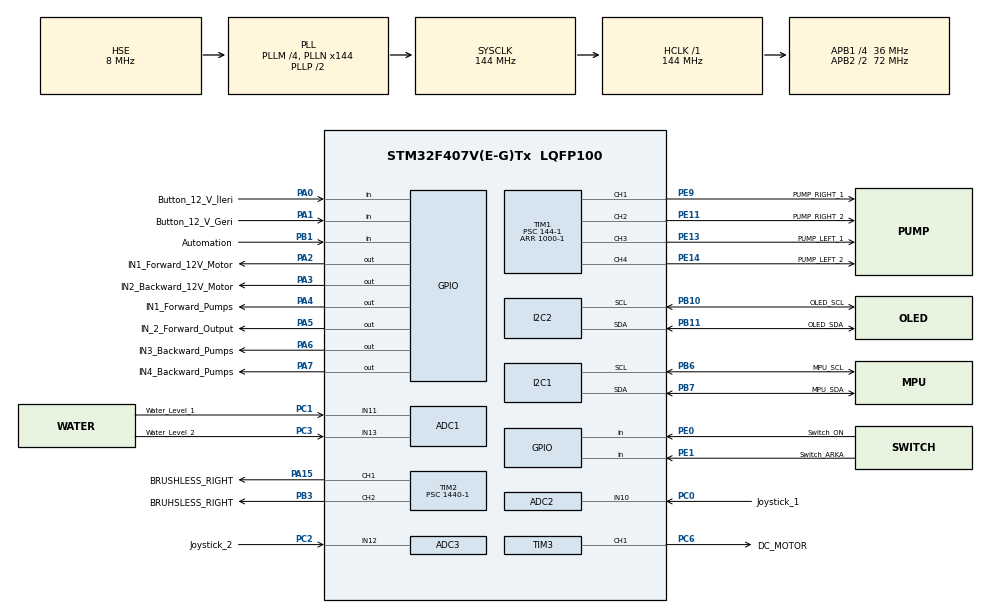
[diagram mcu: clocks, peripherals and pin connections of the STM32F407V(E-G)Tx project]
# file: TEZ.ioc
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ADC1.Channel-0\#ChannelRegularConversion=ADC_CHANNEL_11
ADC1.Channel-1\#ChannelRegularConversion=ADC_CHANNEL_11
ADC1.NbrOfConversion=2
ADC1.NbrOfConversionFlag=1
ADC1.Rank-0\#ChannelRegularConversion=1
ADC1.Rank-1\#ChannelRegularConversion=2
ADC1.SamplingTime-0\#ChannelRegularConversion=ADC_SAMPLETIME_15CYCLES
ADC1.SamplingTime-1\#ChannelRegularConversion=ADC_SAMPLETIME_15CYCLES
ADC1.ScanConvMode=ENABLE
ADC1.master=1
ADC2.Channel-12\#ChannelRegularConversion=ADC_CHANNEL_10
ADC2.ClockPrescaler=ADC_CLOCK_SYNC_PCLK_DIV2
ADC2.ContinuousConvMode=ENABLE
ADC2.NbrOfConversionFlag=1
ADC2.Rank-12\#ChannelRegularConversion=1
ADC2.SamplingTime-12\#ChannelRegularConversion=ADC_SAMPLETIME_15CYCLES
ADC2.ScanConvMode=ENABLE
ADC3.Channel-8\#ChannelRegularConversion=ADC_CHANNEL_12
ADC3.ContinuousConvMode=DISABLE
ADC3.NbrOfConversion=1
ADC3.NbrOfConversionFlag=1
ADC3.Rank-8\#ChannelRegularConversion=1
ADC3.SamplingTime-8\#ChannelRegularConversion=ADC_SAMPLETIME_480CYCLES
ADC3.ScanConvMode=ENABLE
Mcu.Family=STM32F4
Mcu.Name=STM32F407V(E-G)Tx
Mcu.Package=LQFP100
NVIC.PriorityGroup=NVIC_PRIORITYGROUP_0
PA0-WKUP.GPIO_Label=Button_12_V_\u0130leri
PA0-WKUP.GPIO_PuPd=GPIO_PULLUP
PA0-WKUP.Signal=GPIO_Input
PA1.GPIO_Label=Button_12_V_Geri
PA1.GPIO_PuPd=GPIO_PULLUP
PA1.Signal=GPIO_Input
PA13.Mode=Serial_Wire
PA13.Signal=SYS_JTMS-SWDIO
PA14.Mode=Serial_Wire
PA14.Signal=SYS_JTCK-SWCLK
PA15.GPIO_Label=BRUSHLESS_RIGHT
PA15.GPIO_Speed=GPIO_SPEED_FREQ_VERY_HIGH
PA15.Signal=S_TIM2_CH1_ETR
PA2.GPIO_Label=IN1_Forward_12V_Motor
PA2.GPIO_ModeDefaultOutputPP=GPIO_MODE_OUTPUT_PP
PA2.GPIO_PuPd=GPIO_NOPULL
PA2.GPIO_Speed=GPIO_SPEED_FREQ_LOW
PA2.Signal=GPIO_Output
PA3.GPIO_Label=IN2_Backward_12V_Motor
PA3.GPIO_ModeDefaultOutputPP=GPIO_MODE_OUTPUT_PP
PA3.GPIO_PuPd=GPIO_NOPULL
PA3.GPIO_Speed=GPIO_SPEED_FREQ_LOW
PA3.PinState=GPIO_PIN_RESET
PA3.Signal=GPIO_Output
PA4.GPIO_Label=IN1_Forward_Pumps
PA4.Signal=GPIO_Output
PA5.GPIO_Label=IN_2_Forward_Output
PA5.Signal=GPIO_Output
PA6.GPIO_Label=IN3_Backward_Pumps
PA6.Signal=GPIO_Output
PA7.GPIO_Label=IN4_Backward_Pumps
PA7.Signal=GPIO_Output
PB1.GPIO_Label=Automation
PB1.GPIO_PuPd=GPIO_PULLUP
PB1.Signal=GPIO_Input
PB10.GPIO_Label=OLED_SCL
PB10.Mode=I2C
PB10.Signal=I2C2_SCL
PB11.GPIO_Label=OLED_SDA
PB11.Mode=I2C
PB11.Signal=I2C2_SDA
PB3.GPIO_Label=BRUHSLESS_RIGHT
PB3.GPIO_Speed=GPIO_SPEED_FREQ_VERY_HIGH
PB3.Signal=S_TIM2_CH2
PB6.GPIO_Label=MPU_SCL
PB6.Mode=I2C
PB6.Signal=I2C1_SCL
PB7.GPIO_Label=MPU_SDA
PB7.Mode=I2C
PB7.Signal=I2C1_SDA
PC0.GPIO_Label=Joystick_1
PC0.Signal=ADCx_IN10
PC1.GPIO_Label=Water_Level_1
PC1.Signal=ADCx_IN11
PC2.GPIO_Label=Joystick_2
PC2.Signal=ADCx_IN12
PC3.GPIO_Label=Water_Level_2
PC3.Signal=ADCx_IN13
PC6.GPIO_Label=DC_MOTOR
PC6.GPIO_Speed=GPIO_SPEED_FREQ_VERY_HIGH
PC6.Signal=S_TIM3_CH1
PE0.GPIO_Label=Switch_ON
PE0.GPIO_PuPd=GPIO_PULLUP
PE0.Signal=GPIO_Input
PE1.GPIO_Label=Switch_ARKA
PE1.GPIO_PuPd=GPIO_PULLUP
PE1.Signal=GPIO_Input
PE11.GPIO_Label=PUMP_RIGHT_2
PE11.GPIO_Speed=GPIO_SPEED_FREQ_VERY_HIGH
PE11.Signal=S_TIM1_CH2
PE13.GPIO_Label=PUMP_LEFT_1
PE13.GPIO_Speed=GPIO_SPEED_FREQ_VERY_HIGH
PE13.Signal=S_TIM1_CH3
PE14.GPIO_Label=PUMP_LEFT_2
PE14.GPIO_Speed=GPIO_SPEED_FREQ_VERY_HIGH
PE14.Signal=S_TIM1_CH4
PE9.GPIO_Label=PUMP_RIGHT_1
PE9.GPIO_Speed=GPIO_SPEED_FREQ_VERY_HIGH
PE9.Signal=S_TIM1_CH1
PH0-OSC_IN.Mode=HSE-External-Oscillator
PH0-OSC_IN.Signal=RCC_OSC_IN
PH1-OSC_OUT.Mode=HSE-External-Oscillator
PH1-OSC_OUT.Signal=RCC_OSC_OUT
ProjectManager.HeapSize=0x200
ProjectManager.StackSize=0x400
ProjectManager.TargetToolchain=STM32CubeIDE
RCC.48MHZClocksFreq_Value=41142857.14285714
RCC.AHBFreq_Value=144000000
RCC.APB1CLKDivider=RCC_HCLK_DIV4
RCC.APB1Freq_Value=36000000
RCC.APB1TimFreq_Value=72000000
RCC.APB2CLKDivider=RCC_HCLK_DIV2
RCC.APB2Freq_Value=72000000
RCC.APB2TimFreq_Value=144000000
RCC.CortexFreq_Value=144000000
RCC.HCLKFreq_Value=144000000
RCC.HSE_VALUE=8000000
RCC.HSI_VALUE=16000000
RCC.LSE_VALUE=32768
RCC.PLLM=4
RCC.PLLN=144
RCC.PLLQ=7
RCC.PLLSourceVirtual=RCC_PLLSOURCE_HSE
RCC.SYSCLKFreq_VALUE=144000000
RCC.SYSCLKSource=RCC_SYSCLKSOURCE_PLLCLK
RCC.VCOOutputFreq_Value=288000000
SH.ADCx_IN10.0=ADC2_IN10,IN10
SH.ADCx_IN11.0=ADC1_IN11,IN11
SH.ADCx_IN12.0=ADC3_IN12,IN12
SH.ADCx_IN13.0=ADC1_IN13,IN13
SH.S_TIM1_CH1.0=TIM1_CH1,PWM Generation1 CH1
SH.S_TIM1_CH2.0=TIM1_CH2,PWM Generation2 CH2
SH.S_TIM1_CH3.0=TIM1_CH3,PWM Generation3 CH3
SH.S_TIM1_CH4.0=TIM1_CH4,PWM Generation4 CH4
SH.S_TIM2_CH1_ETR.0=TIM2_CH1,PWM Generation1 CH1
SH.S_TIM2_CH2.0=TIM2_CH2,PWM Generation2 CH2
SH.S_TIM3_CH1.0=TIM3_CH1,PWM Generation1 CH1
TIM1.Channel-PWM\ Generation1\ CH1=TIM_CHANNEL_1
TIM1.Channel-PWM\ Generation2\ CH2=TIM_CHANNEL_2
TIM1.Channel-PWM\ Generation3\ CH3=TIM_CHANNEL_3
TIM1.Channel-PWM\ Generation4\ CH4=TIM_CHANNEL_4
TIM1.Period=1000-1
TIM1.Prescaler=144-1
TIM2.Channel-PWM\ Generation1\ CH1=TIM_CHANNEL_1
TIM2.Channel-PWM\ Generation2\ CH2=TIM_CHANNEL_2
TIM2.Period=1000-1
TIM2.Prescaler=1440-1
TIM3.Channel-PWM\ Generation1\ CH1=TIM_CHANNEL_1
TIM3.Period=1000-1
TIM3.Prescaler=140-1
VP_TIM1_VS_ClockSourceINT.Mode=Internal
VP_TIM2_VS_ClockSourceINT.Mode=Internal
board=STM32F407G-DISC1

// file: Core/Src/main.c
/* USER CODE BEGIN Header */
/**
  ******************************************************************************
  * @file           : main.c
  * @brief          : Main program body
  ******************************************************************************
  * @attention
  *
  * Copyright (c) 2024 STMicroelectronics.
  * All rights reserved.
  *
  * This software is licensed under terms that can be found in the LICENSE file
  * in the root directory of this software component.
  * If no LICENSE file comes with this software, it is provided AS-IS.
  *
  ******************************************************************************
  */
/* USER CODE END Header */
#include "main.h"

/* USER CODE BEGIN Includes */
#include "stdio.h"
#include "stm32f4xx_hal.h"
#include "stdio.h"
#include <stdbool.h>
#include "string.h"
#include "math.h"
#include "ADC.h"
/* USER CODE END Includes */

/* USER CODE BEGIN PTD */
#define Calibrate 1
/* USER CODE END PTD */

/* USER CODE BEGIN PD */
#define MPU6050_ADDR 0x68<<1 // MPU6050 sensörünün I2C adresi. 0x68 adresini sola 1 bit kaydırarak (0xD0) elde edilir.
#define PWR_MGMT_1_REG 0x6B // Güç yönetimi kaydı 1'in adresi. Sensörün çalışma modunu ayarlamak için kullanılır.
#define SMPLRT_DIV_REG 0x19 // Örnekleme hızı bölen kaydının adresi. Sensörün örnekleme hızını ayarlamak için kullanılır.
#define GYRO_CNFG_REG 0x1B // Jiroskop yapılandırma kaydının adresi. Jiroskopun hassasiyetini ayarlamak için kullanılır.
#define ACC_CNFG_REG 0x1C // İvmeölçer yapılandırma kaydının adresi. İvmeölçerin hassasiyetini ayarlamak için kullanılır
/* USER CODE END PD */

ADC_HandleTypeDef hadc1;
ADC_HandleTypeDef hadc2;
ADC_HandleTypeDef hadc3;

I2C_HandleTypeDef hi2c1;
I2C_HandleTypeDef hi2c2;

TIM_HandleTypeDef htim1;
TIM_HandleTypeDef htim2;
TIM_HandleTypeDef htim3;

/* USER CODE BEGIN PV */
/******************** MOTOR SİSTEMLERİ ********************************/

int depth, roll, v;
// depth: Derinlik, su altı aracının bulunduğu derinliği temsil eder.
// roll: Aracın yatay eğilme açısı, aracın sağa veya sola eğilmesini ifade eder.
// v: Aracın hızını ifade eder.

float desired_speed = 0.6;
// İstenen hız değeri (referans): Aracın hedeflediği hız. Bu, kontrol algoritmalarında karşılaştırılacak hız değeridir.

float current_speed = 0.0;
// Gerçek hız değeri: Motorlardan gelen verilerle hesaplanan aracın mevcut hızı.

float previous_x_ivme = 0.0;
// Önceki ivme değeri: Hız hesaplamalarında kullanılan önceki ivme değerini saklar.

float Kp_motor = 0.7, Ki_motor = 0.05, Kd_motor = 0.003;
// Fırçasız motorlar için PID katsayıları:
// Kp_motor: Proportional katsayısı, hatanın büyüklüğüne göre tepkiyi belirler.
// Ki_motor: Integral katsayısı, zamanla biriken hataların etkisini düzeltir.
// Kd_motor: Derivative katsayısı, hızlanan hataları engellemeye çalışır.

float integral_motor = 0.0, derivative_motor = 0.0, error_motor = 0.0, previous_error_motor = 0.0;
// Motorlar için PID kontrolü: Bu değişkenler PID algoritmasında kullanılır.
// integral_motor: Hata integralini tutar, hata birikimini düzeltir.
// derivative_motor: Hata türevini tutar, hatadaki değişim hızını ölçer.
// error_motor: Hata değeri, istenen hız ile mevcut hız arasındaki farktır.
// previous_error_motor: Önceki hata değeri, türev hesaplamasında kullanılır.

float pid_output_motor = 0.0;
// PID çıkışı (motorlar): PID algoritmasından çıkan kontrol sinyalini saklar. Bu sinyal, motor hızını kontrol etmek için kullanılır.

float Kp_pump = 1.0, Ki_pump = 2.0, Kd_pump = 4.0;
// Pompalar için PID katsayıları:
// Kp_pump: Proportional katsayısı, hatanın büyüklüğüne göre tepkiyi belirler.
// Ki_pump: Integral katsayısı, zamanla biriken hataların etkisini düzeltir.
// Kd_pump: Derivative katsayısı, hızlanan hataları engellemeye çalışır.

float integral_pump = 0.0, derivative_pump = 0.0, error_pump = 0.0, previous_error_pump = 0.0;
// Pompalar için PID kontrolü: Bu değişkenler PID algoritmasında kullanılır.
// integral_pump: Hata integralini tutar, hata birikimini düzeltir.
// derivative_pump: Hata türevini tutar, hatadaki değişim hızını ölçer.
// error_pump: Hata değeri, istenen pompaların hız ile mevcut hız arasındaki farktır.
// previous_error_pump: Önceki hata değeri, türev hesaplamasında kullanılır.

float pid_output_pump = 0.0;
// PID çıkışı (pompalar): PID algoritmasından çıkan kontrol sinyalini saklar. Bu sinyal, pompaların hızını kontrol etmek için kullanılır.

float desired_roll = 0.0;
// Hedef roll açısı: Su altı aracının hedeflediği roll açısı. Aracın sağa veya sola eğilmesi gereken açıyı belirtir.

bool fill_mode = true;
// Doldurma modu bayrağı: Su altı aracının su alma (doldurma) modunda olup olmadığını belirler. true: Doldurma modunda, false: Boşaltma modunda.

uint16_t Brushless_Motor_Left = 0;
// Sol fırçasız motor PWM değeri: Sol motor için gönderilecek PWM sinyalinin değerini belirler.

uint16_t Brushless_Motor_Right = 0;
// Sağ fırçasız motor PWM değeri: Sağ motor için gönderilecek PWM sinyalinin değerini belirler.

uint16_t joystick1_Y_ADC = 0;
// Birinci joystick'in Y ekseni ADC değeri: İlk joystick'in Y eksenindeki analog sinyali okur.

uint16_t joystick2_Y_ADC = 0;
// İkinci joystick'in Y ekseni ADC değeri: İkinci joystick'in Y eksenindeki analog sinyali okur.

uint16_t fill_pwm_right = 0;
// Sağ doldurma PWM değeri: Sağ taraftaki doldurma pompası için gönderilecek PWM sinyalinin değerini belirler.

uint16_t fill_pwm_left = 0;
// Sol doldurma PWM değeri: Sol taraftaki doldurma pompası için gönderilecek PWM sinyalinin değerini belirler.

uint16_t drain_pwm_right = 0;
// Sağ boşaltma PWM değeri: Sağ taraftaki boşaltma pompası için gönderilecek PWM sinyalinin değerini belirler.

uint16_t drain_pwm_left = 0;
// Sol boşaltma PWM değeri: Sol taraftaki boşaltma pompası için gönderilecek PWM sinyalinin değerini belirler.

uint16_t dc_motor_pwm = 0;
// DC motor PWM değeri: DC motor için gönderilecek PWM sinyalinin değerini belirler.

float desired_fill_time = 40.0;
// İstenen doldurma süresi (saniye): Su alma işleminin ne kadar süreceğini belirler.

float desired_drain_time = 30.0;
// İstenen boşaltma süresi (saniye): Su boşaltma işleminin ne kadar süreceğini belirler.

bool automation_mode = false;
// Otomasyon modu bayrağı: Aracın otomatik kontrol modunda olup olmadığını belirler. true: Otomasyon modunda, false: Manuel modda.

int depth, roll, v;
// depth: Derinlik, aracın su altındaki derinliği.
// roll: Aracın yatay eğilme açısı.
// v: Aracın hızını temsil eder.

/**************************** MPU6060 ****************************************************************/

uint8_t data;
// Genel amaçlı bayt değişkeni: Veri saklamak için kullanılan 8 bitlik değişken.

uint8_t buffer[2], cuffer[2], tuffer[2];
// I2C veri alışverişi için kullanılan bayt dizileri: MPU6050 sensöründen gelen verileri almak için kullanılır.

int16_t gyro_raw[3], acc_raw[3];
// Ham jiroskop ve ivmeölçer verileri: Sensörlerden gelen ham verileri saklar.

float gyro_cal[3];
// Jiroskop kalibrasyon değerleri: Jiroskop verilerinin doğruluğunu artırmak için kullanılan kalibrasyon verilerini saklar.

int16_t acc_total_vector;
// İvmeölçer verilerinin toplam vektör büyüklüğü: X, Y, Z eksenlerindeki ivme verilerinin toplamını tutar.

float angle_pitch_gyro, angle_roll_gyro;
// Jiroskop verilerine dayalı olarak hesaplanan pitch ve roll açıları.

float angle_pitch_acc, angle_roll_acc;
// İvmeölçer verilerine dayalı olarak hesaplanan pitch ve roll açıları.

float angle_pitch, angle_roll;
// Filtrelenmiş son pitch ve roll açıları: Hem ivmeölçer hem de jiroskop verilerinin birleşimiyle elde edilen açı.

int16_t raw_temp;
// Ham sıcaklık verisi: MPU6050 sensöründen gelen sıcaklık verisini saklar.

float temp;
// İşlenmiş sıcaklık değeri: Sensörden gelen sıcaklık verisinin işlenmiş hali.

int i;
// Genel amaçlı döngü sayacı veya indeks değişkeni.

float x_ivme = 0.0;
// X eksenindeki ivme: MPU6050 sensöründen okunan X eksenindeki ivme verisi.

float z_ivme = 0.0;
// Z eksenindeki ivme: MPU6050 sensöründen okunan Z eksenindeki ivme verisi.

float z_speed = 0.0;
// Z eksenindeki hız: Z eksenindeki ivmenin zamanla entegrasyonu ile hesaplanan hız.

float z_depth = 0.0;
// Derinlik: Z eksenindeki hızın zamanla entegrasyonu ile hesaplanan derinlik.

float prevtime, prevtime1, time1, elapsedtime1, prevtime2, time2, elapsedtime2;
// Zaman ölçümü ve geçen süre hesaplamaları: Zaman ölçümü yaparak ivme, hız ve derinlik hesaplamaları için kullanılan değişkenler.

HAL_StatusTypeDef set_gyro;
// HAL fonksiyonlarının dönüş değerini saklamak için kullanılan enum türü: I2C işlemlerinin başarılı olup olmadığını kontrol eder.

/* USER CODE END PV */

void SystemClock_Config(void);
static void MX_GPIO_Init(void);
static void MX_ADC2_Init(void);
static void MX_TIM2_Init(void);
static void MX_ADC3_Init(void);
static void MX_TIM1_Init(void);
static void MX_I2C1_Init(void);
static void MX_ADC1_Init(void);
static void MX_TIM3_Init(void);
static void MX_I2C2_Init(void);
/* USER CODE BEGIN PFP */
void Button_Control(void);

/* USER CODE END PFP */

/* USER CODE BEGIN 0 */
// 'strCopy' adlı bir karakter dizisi tanımlanır. Bu dizi 15 karakter kapasitesine sahip.
// Bu dizi, daha sonra veri kopyalama veya başka bir işlem için kullanılabilir.
char strCopy[15];

// 'map' fonksiyonu, verilen bir değeri (value) belirtilen giriş aralığından (in_min, in_max) çıkış aralığına (out_min, out_max) dönüştürür.
// Bu, örneğin bir sensör değerini farklı bir ölçekteki değere dönüştürmek için kullanılabilir.
uint16_t map(uint16_t value, float in_min, float in_max, float out_min, float out_max) {
    // Giriş değeri ile giriş aralığı arasındaki farkı, çıkış aralığına göre ölçeklendirir.
    return (value - in_min) * (out_max - out_min) / (in_max - in_min) + out_min;
}

/***************************************SUALTI İTİCİ MOTORLARI***********************/

// Motor hızını hesaplayan fonksiyon
void calculate_speed() {
    // Geçen süreyi saniye cinsinden hesapla
    float delta_time = (HAL_GetTick() - prevtime) / 1000.0;
    // Hızı hesapla (ivmenin integrali)
    v += x_ivme * delta_time;
    // Önceki hız değerini güncelle
    previous_x_ivme = x_ivme;
    // Zamanı güncelle
    prevtime = HAL_GetTick();
    // Bu fonksiyon motorun hızını hesaplar. 'delta_time' motorun hareket ettiği süredeki zaman farkını hesaplar.
    // 'v' değeri, ivme ('x_ivme') ile zaman farkının çarpımıyla güncellenir. 'previous_x_ivme' ivme değeri bir sonraki hesaplama için güncellenir.
}

// PID kontrol algoritmasını uygulayan fonksiyon
void motor_pid_control() {
    // Hata hesapla
    error_motor = desired_speed - v;
    // İntegral hesapla
    integral_motor += error_motor;
    // Türev hesapla
    derivative_motor = (error_motor - previous_error_motor) / (HAL_GetTick() - prevtime);
    // PID çıktısını hesapla
    pid_output_motor = Kp_motor * error_motor + Ki_motor * integral_motor + Kd_motor * derivative_motor;
    // Önceki hatayı güncelle
    previous_error_motor = error_motor;
    // Bu fonksiyon PID kontrol algoritmasını uygular. 'error_motor' motorun mevcut hızından istenilen hıza kadar olan farkı temsil eder.
    // Bu hata, integral ve türev bileşenleriyle birleştirilerek PID çıkışı ('pid_output_motor') hesaplanır.
    // 'previous_error_motor' bir sonraki döngüde kullanılmak üzere güncellenir.
}

// PWM çıkışını güncelleyen fonksiyon
void update_pwm() {
    // Eğer PID çıkışı negatifse, PWM değerini azalt
    if (pid_output_motor < 0) {
        TIM2->CCR1 -= (uint16_t)(-pid_output_motor);
    } else {
        // Eğer PID çıkışı pozitifse, PWM değerini artır
        TIM2->CCR1 += (uint16_t)(pid_output_motor);
    }
    // Bu fonksiyon PWM çıkışını günceller. PID çıkışı negatifse PWM değeri azaltılır, pozitifse artırılır.
    // Bu sayede motorun hızını PID kontrol algoritması ile ayarlayarak istenilen hıza ulaşılır.
}

// Su pompası için PID kontrol fonksiyonu
void pump_pid_control() {
    // Roll hatasını hesapla
    float roll_error = desired_roll - roll;
    // İntegral hesapla
    integral_pump += roll_error;
    // Türev hesapla
    derivative_pump = (roll_error - previous_error_pump) / (HAL_GetTick() - prevtime);
    // PID çıktısını hesapla
    pid_output_pump = Kp_pump * roll_error + Ki_pump * integral_pump + Kd_pump * derivative_pump;
    // Önceki hatayı güncelle
    previous_error_pump = roll_error;

    // Butonların durumuna göre PWM değerlerini ayarla
    if (HAL_GPIO_ReadPin(GPIOA, GPIO_PIN_0) == GPIO_PIN_RESET && HAL_GPIO_ReadPin(GPIOE, GPIO_PIN_0) == GPIO_PIN_RESET) {
        // PWM sol doldurma ve sağ doldurma ayarları
        if (pid_output_pump > 0) {
            fill_pwm_left -= (uint16_t)(pid_output_pump);
            fill_pwm_right += (uint16_t)(pid_output_pump);
        } else {
            fill_pwm_left += (uint16_t)(-pid_output_pump);
            fill_pwm_right -= (uint16_t)(-pid_output_pump);
        }
    } else if (HAL_GPIO_ReadPin(GPIOA, GPIO_PIN_1) == GPIO_PIN_RESET && HAL_GPIO_ReadPin(GPIOE, GPIO_PIN_1) == GPIO_PIN_RESET){
        // PWM sol boşaltma ve sağ boşaltma ayarları
        if (pid_output_pump > 0) {
            drain_pwm_left += (uint16_t)(pid_output_pump);
            drain_pwm_right -= (uint16_t)(pid_output_pump);
        } else {
            drain_pwm_left -= (uint16_t)(-pid_output_pump);
            drain_pwm_right += (uint16_t)(-pid_output_pump);
        }
    }
    // PWM değerlerini timer'a uygula
    TIM1->CCR1 = drain_pwm_left;
    TIM1->CCR2 = drain_pwm_right;
    TIM1->CCR3 = fill_pwm_right;
    TIM1->CCR4 = fill_pwm_left;
    // Bu fonksiyon, su pompası sistemindeki PID kontrolünü yapar. 'roll_error' sol ve sağ pompaların yönünü belirler.
    // PID çıkışı, ilgili PWM değerlerini ayarlayarak sol ve sağ pompaların çalışma hızını kontrol eder.
}

// PWM değerlerini hesaplayan fonksiyon
void calculate_pwm_values() {
    // Doldurma Süresi için gerekli voltajı hesapla
    float fill_voltage = (6.0 * 35.56) / desired_fill_time;
    // PWM değeri hesapla
    fill_pwm_left = (uint16_t)((fill_voltage / 12.0) * 1000);
    fill_pwm_right = (uint16_t)((fill_voltage / 12.0) * 1000);
    // Boşaltma Süresi için gerekli voltajı hesapla
    float drain_voltage = (6.0 * 28.80) / desired_drain_time;
    // PWM değeri hesapla
    drain_pwm_left = (uint16_t)((drain_voltage / 12.0) * 1000);
    fill_pwm_right = (uint16_t)((fill_voltage / 12.0) * 1000);
    // DC Motor Süresi için gerekli voltajı hesapla
    float dc_motor_voltage = (12.0 * 20.0) / desired_fill_time;
    // PWM değeri hesapla
    dc_motor_pwm = (uint16_t)((dc_motor_voltage / 12.0) * 1000);
    // Bu fonksiyon, pompa sisteminin doldurma, boşaltma ve DC motor için gerekli PWM değerlerini hesaplar.
    // Hesaplanan voltajlar, belirli bir zaman diliminde gereken PWM değerlerine dönüştürülür.
}

// Mikrosaniye cinsinden zamanı döndüren fonksiyon
// STM32'de bu işlevi SysTick timer sağlar.
// SysTick timer kullanarak milisaniye cinsinden zamanı döndüren fonksiyon
uint32_t getMillis(){
    return HAL_GetTick();
}

// Bu fonksiyon, su altı aracının derinliğini hesaplamak için kullanılır.
// İlk olarak geçen süreyi hesaplar, ardından hız (z_speed) ve derinlik (z_depth) hesaplamaları yapılır.
// 'z_speed' ivme (z_ivme) ile zaman farkının çarpımıyla güncellenir.
// 'z_depth' ise hız (z_speed) ile zaman farkının çarpımıyla hesaplanır.
void calculate_z_depth() {
    float delta_time = (HAL_GetTick() - prevtime1) / 1000.0; // Geçen süreyi saniye cinsinden hesapla

    // İlk integral: hız (z_speed) hesapla
    z_speed += z_ivme * delta_time;

    // İkinci integral: derinlik (z_depth) hesapla
    z_depth += z_speed * delta_time;

    prevtime1 = HAL_GetTick(); // Zamanı güncelle
}

// MPU6050 sensöründen verileri okur ve motor kontrolü için gerekli olan açıyı hesaplar.
// Bu fonksiyon ivmeölçer ve jiroskop verilerini okur ve her bir eksende ilgili açıyı hesaplar.
// Hesaplanan açıları daha sonra aracın hareketini yönlendirmek için kullanır.
void mpu6050() {
    prevtime1 = time1; // Önceki zamanı sakla
    time1 = HAL_GetTick(); // Geçerli zamanı al
    elapsedtime1 = (time1 - prevtime1) * 1000; // Geçen süreyi hesapla

    // İvmeölçer verilerini oku
    tuffer[0] = 0x3B; // İvmeölçer veri başlangıç adresi
    HAL_I2C_Master_Transmit(&hi2c1, MPU6050_ADDR, tuffer, 1, HAL_MAX_DELAY); // Adresi gönder
    HAL_I2C_Master_Receive(&hi2c1, MPU6050_ADDR, tuffer, 6, HAL_MAX_DELAY); // 6 bayt veri al

    // Ham ivmeölçer verilerini birleştir
    acc_raw[0] = (tuffer[0] << 8 | tuffer[1]); // X ekseni
    acc_raw[1] = (tuffer[2] << 8 | tuffer[3]); // Y ekseni
    acc_raw[2] = (tuffer[4] << 8 | tuffer[5]); // Z ekseni

    // Sıcaklık verisini oku
    buffer[0] = 0x41; // Sıcaklık veri başlangıç adresi
    HAL_I2C_Master_Transmit(&hi2c1, MPU6050_ADDR, buffer, 1, HAL_MAX_DELAY); // Adresi gönder
    HAL_I2C_Master_Receive(&hi2c1, MPU6050_ADDR, buffer, 2, HAL_MAX_DELAY); // 2 bayt veri al

    // Ham sıcaklık verisini birleştir ve gerçek sıcaklığa çevir
    raw_temp = (buffer[0] << 8 | buffer[1]);
    temp = (raw_temp / 340.0) + 36.53; // MPU6050 datasheet formülüne göre hesaplama

    // Jiroskop verilerini oku
    cuffer[0] = 0x43; // Jiroskop veri başlangıç adresi
    HAL_I2C_Master_Transmit(&hi2c1, MPU6050_ADDR, cuffer, 1, HAL_MAX_DELAY); // Adresi gönder
    HAL_I2C_Master_Receive(&hi2c1, MPU6050_ADDR, cuffer, 6, HAL_MAX_DELAY); // 6 bayt veri al

    // Ham jiroskop verilerini birleştir ve kalibrasyon değerlerini çıkar
    gyro_raw[0] = (cuffer[0] << 8 | cuffer[1]) - gyro_cal[0]; // X ekseni
    gyro_raw[1] = (cuffer[2] << 8 | cuffer[3]) - gyro_cal[1]; // Y ekseni
    gyro_raw[2] = (cuffer[4] << 8 | cuffer[5]) - gyro_cal[2]; // Z ekseni

    // Jiroskop verilerini kullanarak açıları güncelle
    angle_pitch_gyro += gyro_raw[0] * 0.0000611; // Pitch açısı
    angle_roll_gyro += gyro_raw[1] * 0.0000611; // Roll açısı

    // Jiroskop verilerini kullanarak birbirine etki eden açıları güncelle
    angle_pitch_gyro += angle_roll_gyro * sin(gyro_raw[2] * 0.000001066);
    angle_roll_gyro += angle_pitch_gyro * sin(gyro_raw[2] * 0.000001066);

    // İvmeölçer verilerinin toplam vektörünü hesapla
    acc_total_vector = sqrt((acc_raw[0] * acc_raw[0]) + (acc_raw[1] * acc_raw[1]) + (acc_raw[2] * acc_raw[2]));

    // İvmeölçer verilerini kullanarak açıları hesapla
    angle_pitch_acc = asin((float)acc_raw[1] / acc_total_vector) * 57.296; // Pitch açısı
    angle_roll_acc = asin((float)acc_raw[0] / acc_total_vector) * -57.296; // Roll açısı

    // Açıları kalibre et (gerekirse)
    angle_pitch_acc -= 0.00;
    angle_roll_acc -= 0.00;

    // Jiroskop verilerini ivmeölçer verileriyle birleştir
    if (set_gyro) {
        angle_pitch = angle_pitch_gyro * 0.9996 + angle_pitch_acc * 0.0004; // Pitch açısı
        angle_roll = angle_roll_gyro * 0.9996 + angle_roll_acc * 0.0004; // Roll açısı
    } else {
        angle_pitch = angle_pitch_acc; // İlk okumada sadece ivmeölçer verilerini kullan
        set_gyro = true;
    }

    // Belirli bir süre beklemek için döngü
    while ((HAL_GetTick() - prevtime) * 1000 < 4000);
    prevtime = getMillis(); // Zamanı güncelle
}

/* USER CODE END 0 */

int main(void)
{

  /* USER CODE BEGIN 1 */
  // Kullanıcı kodu başlangıcı (başlangıçta herhangi bir işlem yapılmadı)

  /* USER CODE END 1 */

  /* MCU Configuration--------------------------------------------------------*/

  /* Reset of all peripherals, Initializes the Flash interface and the Systick. */
  HAL_Init();

  /* USER CODE BEGIN Init */
  // Başlangıçta yapılan işlemler
  /* USER CODE END Init */

  /* Configure the system clock */
  SystemClock_Config();

  /* USER CODE BEGIN SysInit */
  // Joystick sistemini başlat
  ADC_System_Init(); // Joystick sistemini başlat

  /* USER CODE END SysInit */

  /* Initialize all configured peripherals */
  MX_GPIO_Init();
  MX_ADC2_Init();
  MX_TIM2_Init();
  MX_ADC3_Init();
  MX_TIM1_Init();
  MX_I2C1_Init();
  MX_ADC1_Init();
  MX_TIM3_Init();
  MX_I2C2_Init();
  /* USER CODE BEGIN 2 */
  // PWM sinyallerini başlat (motor kontrolü için)
  HAL_TIM_PWM_Start(&htim2, TIM_CHANNEL_1); // Sağ motor için PWM başlat
  HAL_TIM_PWM_Start(&htim2, TIM_CHANNEL_2); // Sol motor için PWM başlat
  HAL_TIM_PWM_Start(&htim1, TIM_CHANNEL_1); // Sol motor için PWM başlat

  // ESC Kalibrasyonu (Motorları kontrol etmek için başlangıç ayarları)
  #if Calibrate
    TIM2->CCR2 = 100;  // Maksimum pulse (2ms)
    HAL_Delay(2000);   // 1 bip sesi bekle
    TIM2->CCR2 = 50;   // Minimum Pulse (1ms)
    HAL_Delay(1000);   // 2 bip sesi bekle
    TIM2->CCR2 = 0;    // Sıfırlama, ADC ile kontrol edilebilsin
  #endif

  #if Calibrate
    TIM2->CCR1 = 100;  // Maksimum pulse (2ms)
    HAL_Delay(2000);   // 1 bip sesi bekle
    TIM2->CCR1 = 50;   // Minimum Pulse (1ms)
    HAL_Delay(1000);   // 2 bip sesi bekle
    TIM2->CCR1 = 0;    // Sıfırlama, ADC ile kontrol edilebilsin
  #endif

/*********************************MPU6050**********************************/
  // MPU6050 Sensör Konfigürasyonu
  data = 0x00;
  HAL_I2C_Mem_Write(&hi2c1, MPU6050_ADDR, PWR_MGMT_1_REG, 1, &data, 1, HAL_MAX_DELAY);
  // Sensörü uyandır ve iç saatini kullanmak üzere ayarla

  data = 0x08;
  HAL_I2C_Mem_Write(&hi2c1, MPU6050_ADDR, GYRO_CNFG_REG, 1, &data, 1, HAL_MAX_DELAY);
  // Jiroskop için hassasiyeti ayarla (±500 derece/saniye)

  data = 0x10;
  HAL_I2C_Mem_Write(&hi2c1, MPU6050_ADDR, ACC_CNFG_REG, 1, &data, 1, HAL_MAX_DELAY);
  // İvmeölçer için hassasiyeti ayarla (±8g)

  // Jiroskop kalibrasyonu için 2000 ölçüm yap
  for (i = 0; i < 2000; i++) {
      prevtime2 = time2; // Önceki zamanı sakla
      time2 = HAL_GetTick(); // Geçerli zamanı al
      elapsedtime2 = (time2 - prevtime2) * 1000; // Geçen süreyi hesapla

      cuffer[0] = 0x43; // Jiroskop veri başlangıç adresi
      HAL_I2C_Master_Transmit(&hi2c1, MPU6050_ADDR, cuffer, 1, HAL_MAX_DELAY); // Adresi gönder
      HAL_I2C_Master_Receive(&hi2c1, MPU6050_ADDR, cuffer, 6, HAL_MAX_DELAY); // 6 bayt veri al

      // Ham jiroskop verilerini birleştir
      gyro_raw[0] = (cuffer[0] << 8 | cuffer[1]); // X ekseni
      gyro_raw[1] = (cuffer[2] << 8 | cuffer[3]); // Y ekseni
      gyro_raw[2] = (cuffer[4] << 8 | cuffer[5]); // Z ekseni

      // Kalibrasyon değerlerini topla
      gyro_cal[0] += gyro_raw[0];
      gyro_cal[1] += gyro_raw[1];
      gyro_cal[2] += gyro_raw[2];

      HAL_Delay(3); // 3 milisaniye bekle
  }

  // Kalibrasyon değerlerinin ortalamasını al
  gyro_cal[0] /= 2000;
  gyro_cal[1] /= 2000;
  gyro_cal[2] /= 2000;

  /* USER CODE END 2 */

  /* Infinite loop */
  while (1)
  {

  }
}

void SystemClock_Config(void)
{
  RCC_OscInitTypeDef RCC_OscInitStruct = {0};
  RCC_ClkInitTypeDef RCC_ClkInitStruct = {0};

  /** Configure the main internal regulator output voltage
  */
  __HAL_RCC_PWR_CLK_ENABLE();
  __HAL_PWR_VOLTAGESCALING_CONFIG(PWR_REGULATOR_VOLTAGE_SCALE1);

  /** Initializes the RCC Oscillators according to the specified parameters
  * in the RCC_OscInitTypeDef structure.
  */
  RCC_OscInitStruct.OscillatorType = RCC_OSCILLATORTYPE_HSE;
  RCC_OscInitStruct.HSEState = RCC_HSE_ON;
  RCC_OscInitStruct.PLL.PLLState = RCC_PLL_ON;
  RCC_OscInitStruct.PLL.PLLSource = RCC_PLLSOURCE_HSE;
  RCC_OscInitStruct.PLL.PLLM = 4;
  RCC_OscInitStruct.PLL.PLLN = 144;
  RCC_OscInitStruct.PLL.PLLP = RCC_PLLP_DIV2;
  RCC_OscInitStruct.PLL.PLLQ = 7;
  if (HAL_RCC_OscConfig(&RCC_OscInitStruct) != HAL_OK)
  {
    Error_Handler();
  }

  /** Initializes the CPU, AHB and APB buses clocks
  */
  RCC_ClkInitStruct.ClockType = RCC_CLOCKTYPE_HCLK|RCC_CLOCKTYPE_SYSCLK
                              |RCC_CLOCKTYPE_PCLK1|RCC_CLOCKTYPE_PCLK2;
  RCC_ClkInitStruct.SYSCLKSource = RCC_SYSCLKSOURCE_PLLCLK;
  RCC_ClkInitStruct.AHBCLKDivider = RCC_SYSCLK_DIV1;
  RCC_ClkInitStruct.APB1CLKDivider = RCC_HCLK_DIV4;
  RCC_ClkInitStruct.APB2CLKDivider = RCC_HCLK_DIV2;

  if (HAL_RCC_ClockConfig(&RCC_ClkInitStruct, FLASH_LATENCY_4) != HAL_OK)
  {
    Error_Handler();
  }
}

static void MX_ADC1_Init(void)
{

  ADC_ChannelConfTypeDef sConfig = {0};

  /** Configure the global features of the ADC (Clock, Resolution, Data Alignment and number of conversion)
  */
  hadc1.Instance = ADC1;
  hadc1.Init.ClockPrescaler = ADC_CLOCK_SYNC_PCLK_DIV2;
  hadc1.Init.Resolution = ADC_RESOLUTION_12B;
  hadc1.Init.ScanConvMode = ENABLE;
  hadc1.Init.ContinuousConvMode = DISABLE;
  hadc1.Init.DiscontinuousConvMode = DISABLE;
  hadc1.Init.ExternalTrigConvEdge = ADC_EXTERNALTRIGCONVEDGE_NONE;
  hadc1.Init.ExternalTrigConv = ADC_SOFTWARE_START;
  hadc1.Init.DataAlign = ADC_DATAALIGN_RIGHT;
  hadc1.Init.NbrOfConversion = 2;
  hadc1.Init.DMAContinuousRequests = DISABLE;
  hadc1.Init.EOCSelection = ADC_EOC_SINGLE_CONV;
  if (HAL_ADC_Init(&hadc1) != HAL_OK)
  {
    Error_Handler();
  }

  /** Configure for the selected ADC regular channel its corresponding rank in the sequencer and its sample time.
  */
  sConfig.Channel = ADC_CHANNEL_11;
  sConfig.Rank = 1;
  sConfig.SamplingTime = ADC_SAMPLETIME_15CYCLES;
  if (HAL_ADC_ConfigChannel(&hadc1, &sConfig) != HAL_OK)
  {
    Error_Handler();
  }

  /** Configure for the selected ADC regular channel its corresponding rank in the sequencer and its sample time.
  */
  sConfig.Rank = 2;
  if (HAL_ADC_ConfigChannel(&hadc1, &sConfig) != HAL_OK)
  {
    Error_Handler();
  }

}

static void MX_ADC2_Init(void)
{

  ADC_ChannelConfTypeDef sConfig = {0};

  /** Configure the global features of the ADC (Clock, Resolution, Data Alignment and number of conversion)
  */
  hadc2.Instance = ADC2;
  hadc2.Init.ClockPrescaler = ADC_CLOCK_SYNC_PCLK_DIV2;
  hadc2.Init.Resolution = ADC_RESOLUTION_12B;
  hadc2.Init.ScanConvMode = ENABLE;
  hadc2.Init.ContinuousConvMode = ENABLE;
  hadc2.Init.DiscontinuousConvMode = DISABLE;
  hadc2.Init.ExternalTrigConvEdge = ADC_EXTERNALTRIGCONVEDGE_NONE;
  hadc2.Init.ExternalTrigConv = ADC_SOFTWARE_START;
  hadc2.Init.DataAlign = ADC_DATAALIGN_RIGHT;
  hadc2.Init.NbrOfConversion = 1;
  hadc2.Init.DMAContinuousRequests = DISABLE;
  hadc2.Init.EOCSelection = ADC_EOC_SINGLE_CONV;
  if (HAL_ADC_Init(&hadc2) != HAL_OK)
  {
    Error_Handler();
  }

  /** Configure for the selected ADC regular channel its corresponding rank in the sequencer and its sample time.
  */
  sConfig.Channel = ADC_CHANNEL_10;
  sConfig.Rank = 1;
  sConfig.SamplingTime = ADC_SAMPLETIME_15CYCLES;
  if (HAL_ADC_ConfigChannel(&hadc2, &sConfig) != HAL_OK)
  {
    Error_Handler();
  }

}

static void MX_ADC3_Init(void)
{

  ADC_ChannelConfTypeDef sConfig = {0};

  /** Configure the global features of the ADC (Clock, Resolution, Data Alignment and number of conversion)
  */
  hadc3.Instance = ADC3;
  hadc3.Init.ClockPrescaler = ADC_CLOCK_SYNC_PCLK_DIV2;
  hadc3.Init.Resolution = ADC_RESOLUTION_12B;
  hadc3.Init.ScanConvMode = ENABLE;
  hadc3.Init.ContinuousConvMode = DISABLE;
  hadc3.Init.DiscontinuousConvMode = DISABLE;
  hadc3.Init.ExternalTrigConvEdge = ADC_EXTERNALTRIGCONVEDGE_NONE;
  hadc3.Init.ExternalTrigConv = ADC_SOFTWARE_START;
  hadc3.Init.DataAlign = ADC_DATAALIGN_RIGHT;
  hadc3.Init.NbrOfConversion = 1;
  hadc3.Init.DMAContinuousRequests = DISABLE;
  hadc3.Init.EOCSelection = ADC_EOC_SINGLE_CONV;
  if (HAL_ADC_Init(&hadc3) != HAL_OK)
  {
    Error_Handler();
  }

  /** Configure for the selected ADC regular channel its corresponding rank in the sequencer and its sample time.
  */
  sConfig.Channel = ADC_CHANNEL_12;
  sConfig.Rank = 1;
  sConfig.SamplingTime = ADC_SAMPLETIME_480CYCLES;
  if (HAL_ADC_ConfigChannel(&hadc3, &sConfig) != HAL_OK)
  {
    Error_Handler();
  }

}

static void MX_I2C1_Init(void)
{

  hi2c1.Instance = I2C1;
  hi2c1.Init.ClockSpeed = 100000;
  hi2c1.Init.DutyCycle = I2C_DUTYCYCLE_2;
  hi2c1.Init.OwnAddress1 = 0;
  hi2c1.Init.AddressingMode = I2C_ADDRESSINGMODE_7BIT;
  hi2c1.Init.DualAddressMode = I2C_DUALADDRESS_DISABLE;
  hi2c1.Init.OwnAddress2 = 0;
  hi2c1.Init.GeneralCallMode = I2C_GENERALCALL_DISABLE;
  hi2c1.Init.NoStretchMode = I2C_NOSTRETCH_DISABLE;
  if (HAL_I2C_Init(&hi2c1) != HAL_OK)
  {
    Error_Handler();
  }

}

static void MX_I2C2_Init(void)
{

  hi2c2.Instance = I2C2;
  hi2c2.Init.ClockSpeed = 100000;
  hi2c2.Init.DutyCycle = I2C_DUTYCYCLE_2;
  hi2c2.Init.OwnAddress1 = 0;
  hi2c2.Init.AddressingMode = I2C_ADDRESSINGMODE_7BIT;
  hi2c2.Init.DualAddressMode = I2C_DUALADDRESS_DISABLE;
  hi2c2.Init.OwnAddress2 = 0;
  hi2c2.Init.GeneralCallMode = I2C_GENERALCALL_DISABLE;
  hi2c2.Init.NoStretchMode = I2C_NOSTRETCH_DISABLE;
  if (HAL_I2C_Init(&hi2c2) != HAL_OK)
  {
    Error_Handler();
  }

}

static void MX_TIM1_Init(void)
{

  TIM_ClockConfigTypeDef sClockSourceConfig = {0};
  TIM_MasterConfigTypeDef sMasterConfig = {0};
  TIM_OC_InitTypeDef sConfigOC = {0};
  TIM_BreakDeadTimeConfigTypeDef sBreakDeadTimeConfig = {0};

  htim1.Instance = TIM1;
  htim1.Init.Prescaler = 144-1;
  htim1.Init.CounterMode = TIM_COUNTERMODE_UP;
  htim1.Init.Period = 1000-1;
  htim1.Init.ClockDivision = TIM_CLOCKDIVISION_DIV1;
  htim1.Init.RepetitionCounter = 0;
  htim1.Init.AutoReloadPreload = TIM_AUTORELOAD_PRELOAD_DISABLE;
  if (HAL_TIM_Base_Init(&htim1) != HAL_OK)
  {
    Error_Handler();
  }
  sClockSourceConfig.ClockSource = TIM_CLOCKSOURCE_INTERNAL;
  if (HAL_TIM_ConfigClockSource(&htim1, &sClockSourceConfig) != HAL_OK)
  {
    Error_Handler();
  }
  if (HAL_TIM_PWM_Init(&htim1) != HAL_OK)
  {
    Error_Handler();
  }
  sMasterConfig.MasterOutputTrigger = TIM_TRGO_RESET;
  sMasterConfig.MasterSlaveMode = TIM_MASTERSLAVEMODE_DISABLE;
  if (HAL_TIMEx_MasterConfigSynchronization(&htim1, &sMasterConfig) != HAL_OK)
  {
    Error_Handler();
  }
  sConfigOC.OCMode = TIM_OCMODE_PWM1;
  sConfigOC.Pulse = 0;
  sConfigOC.OCPolarity = TIM_OCPOLARITY_HIGH;
  sConfigOC.OCNPolarity = TIM_OCNPOLARITY_HIGH;
  sConfigOC.OCFastMode = TIM_OCFAST_DISABLE;
  sConfigOC.OCIdleState = TIM_OCIDLESTATE_RESET;
  sConfigOC.OCNIdleState = TIM_OCNIDLESTATE_RESET;
  if (HAL_TIM_PWM_ConfigChannel(&htim1, &sConfigOC, TIM_CHANNEL_1) != HAL_OK)
  {
    Error_Handler();
  }
  if (HAL_TIM_PWM_ConfigChannel(&htim1, &sConfigOC, TIM_CHANNEL_2) != HAL_OK)
  {
    Error_Handler();
  }
  if (HAL_TIM_PWM_ConfigChannel(&htim1, &sConfigOC, TIM_CHANNEL_3) != HAL_OK)
  {
    Error_Handler();
  }
  if (HAL_TIM_PWM_ConfigChannel(&htim1, &sConfigOC, TIM_CHANNEL_4) != HAL_OK)
  {
    Error_Handler();
  }
  sBreakDeadTimeConfig.OffStateRunMode = TIM_OSSR_DISABLE;
  sBreakDeadTimeConfig.OffStateIDLEMode = TIM_OSSI_DISABLE;
  sBreakDeadTimeConfig.LockLevel = TIM_LOCKLEVEL_OFF;
  sBreakDeadTimeConfig.DeadTime = 0;
  sBreakDeadTimeConfig.BreakState = TIM_BREAK_DISABLE;
  sBreakDeadTimeConfig.BreakPolarity = TIM_BREAKPOLARITY_HIGH;
  sBreakDeadTimeConfig.AutomaticOutput = TIM_AUTOMATICOUTPUT_DISABLE;
  if (HAL_TIMEx_ConfigBreakDeadTime(&htim1, &sBreakDeadTimeConfig) != HAL_OK)
  {
    Error_Handler();
  }
  HAL_TIM_MspPostInit(&htim1);

}

static void MX_TIM2_Init(void)
{

  TIM_ClockConfigTypeDef sClockSourceConfig = {0};
  TIM_MasterConfigTypeDef sMasterConfig = {0};
  TIM_OC_InitTypeDef sConfigOC = {0};

  htim2.Instance = TIM2;
  htim2.Init.Prescaler = 1440-1;
  htim2.Init.CounterMode = TIM_COUNTERMODE_UP;
  htim2.Init.Period = 1000-1;
  htim2.Init.ClockDivision = TIM_CLOCKDIVISION_DIV1;
  htim2.Init.AutoReloadPreload = TIM_AUTORELOAD_PRELOAD_DISABLE;
  if (HAL_TIM_Base_Init(&htim2) != HAL_OK)
  {
    Error_Handler();
  }
  sClockSourceConfig.ClockSource = TIM_CLOCKSOURCE_INTERNAL;
  if (HAL_TIM_ConfigClockSource(&htim2, &sClockSourceConfig) != HAL_OK)
  {
    Error_Handler();
  }
  if (HAL_TIM_PWM_Init(&htim2) != HAL_OK)
  {
    Error_Handler();
  }
  sMasterConfig.MasterOutputTrigger = TIM_TRGO_RESET;
  sMasterConfig.MasterSlaveMode = TIM_MASTERSLAVEMODE_DISABLE;
  if (HAL_TIMEx_MasterConfigSynchronization(&htim2, &sMasterConfig) != HAL_OK)
  {
    Error_Handler();
  }
  sConfigOC.OCMode = TIM_OCMODE_PWM1;
  sConfigOC.Pulse = 0;
  sConfigOC.OCPolarity = TIM_OCPOLARITY_HIGH;
  sConfigOC.OCFastMode = TIM_OCFAST_DISABLE;
  if (HAL_TIM_PWM_ConfigChannel(&htim2, &sConfigOC, TIM_CHANNEL_1) != HAL_OK)
  {
    Error_Handler();
  }
  if (HAL_TIM_PWM_ConfigChannel(&htim2, &sConfigOC, TIM_CHANNEL_2) != HAL_OK)
  {
    Error_Handler();
  }
  HAL_TIM_MspPostInit(&htim2);

}

static void MX_TIM3_Init(void)
{

  TIM_MasterConfigTypeDef sMasterConfig = {0};
  TIM_OC_InitTypeDef sConfigOC = {0};

  htim3.Instance = TIM3;
  htim3.Init.Prescaler = 140-1;
  htim3.Init.CounterMode = TIM_COUNTERMODE_UP;
  htim3.Init.Period = 1000-1;
  htim3.Init.ClockDivision = TIM_CLOCKDIVISION_DIV1;
  htim3.Init.AutoReloadPreload = TIM_AUTORELOAD_PRELOAD_DISABLE;
  if (HAL_TIM_PWM_Init(&htim3) != HAL_OK)
  {
    Error_Handler();
  }
  sMasterConfig.MasterOutputTrigger = TIM_TRGO_RESET;
  sMasterConfig.MasterSlaveMode = TIM_MASTERSLAVEMODE_DISABLE;
  if (HAL_TIMEx_MasterConfigSynchronization(&htim3, &sMasterConfig) != HAL_OK)
  {
    Error_Handler();
  }
  sConfigOC.OCMode = TIM_OCMODE_PWM1;
  sConfigOC.Pulse = 0;
  sConfigOC.OCPolarity = TIM_OCPOLARITY_HIGH;
  sConfigOC.OCFastMode = TIM_OCFAST_DISABLE;
  if (HAL_TIM_PWM_ConfigChannel(&htim3, &sConfigOC, TIM_CHANNEL_1) != HAL_OK)
  {
    Error_Handler();
  }
  HAL_TIM_MspPostInit(&htim3);

}

static void MX_GPIO_Init(void)
{
  GPIO_InitTypeDef GPIO_InitStruct = {0};

  /* GPIO Ports Clock Enable */
  __HAL_RCC_GPIOH_CLK_ENABLE();
  __HAL_RCC_GPIOC_CLK_ENABLE();
  __HAL_RCC_GPIOA_CLK_ENABLE();
  __HAL_RCC_GPIOB_CLK_ENABLE();
  __HAL_RCC_GPIOE_CLK_ENABLE();

  /*Configure GPIO pin Output Level */
  HAL_GPIO_WritePin(GPIOA, IN1_Forward_12V_Motor_Pin|IN2_Backward_12V_Motor_Pin|IN1_Forward_Pumps_Pin|IN_2_Forward_Output_Pin
                          |IN3_Backward_Pumps_Pin|IN4_Backward_Pumps_Pin, GPIO_PIN_RESET);

  /*Configure GPIO pins : Button_12_V__leri_Pin Button_12_V_Geri_Pin */
  GPIO_InitStruct.Pin = Button_12_V__leri_Pin|Button_12_V_Geri_Pin;
  GPIO_InitStruct.Mode = GPIO_MODE_INPUT;
  GPIO_InitStruct.Pull = GPIO_PULLUP;
  HAL_GPIO_Init(GPIOA, &GPIO_InitStruct);

  /*Configure GPIO pins : IN1_Forward_12V_Motor_Pin IN2_Backward_12V_Motor_Pin IN1_Forward_Pumps_Pin IN_2_Forward_Output_Pin
                           IN3_Backward_Pumps_Pin IN4_Backward_Pumps_Pin */
  GPIO_InitStruct.Pin = IN1_Forward_12V_Motor_Pin|IN2_Backward_12V_Motor_Pin|IN1_Forward_Pumps_Pin|IN_2_Forward_Output_Pin
                          |IN3_Backward_Pumps_Pin|IN4_Backward_Pumps_Pin;
  GPIO_InitStruct.Mode = GPIO_MODE_OUTPUT_PP;
  GPIO_InitStruct.Pull = GPIO_NOPULL;
  GPIO_InitStruct.Speed = GPIO_SPEED_FREQ_LOW;
  HAL_GPIO_Init(GPIOA, &GPIO_InitStruct);

  /*Configure GPIO pin : Automation_Pin */
  GPIO_InitStruct.Pin = Automation_Pin;
  GPIO_InitStruct.Mode = GPIO_MODE_INPUT;
  GPIO_InitStruct.Pull = GPIO_PULLUP;
  HAL_GPIO_Init(Automation_GPIO_Port, &GPIO_InitStruct);

  /*Configure GPIO pins : Switch_ON_Pin Switch_ARKA_Pin */
  GPIO_InitStruct.Pin = Switch_ON_Pin|Switch_ARKA_Pin;
  GPIO_InitStruct.Mode = GPIO_MODE_INPUT;
  GPIO_InitStruct.Pull = GPIO_PULLUP;
  HAL_GPIO_Init(GPIOE, &GPIO_InitStruct);

}

void Error_Handler(void)
{
  __disable_irq();
  while (1)
  {
  }
}
